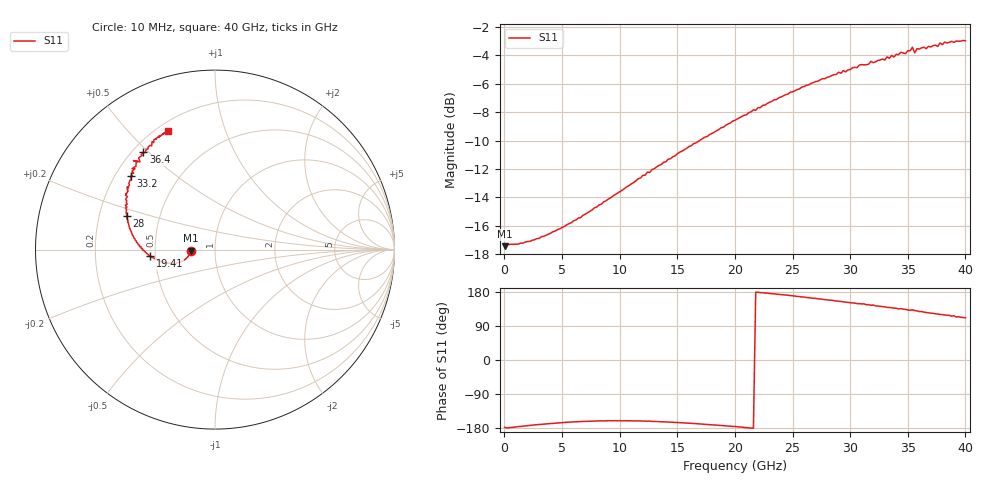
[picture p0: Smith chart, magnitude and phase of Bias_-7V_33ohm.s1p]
!Agilent Technologies,N5227A,US51270434,A.10.00.00
!Agilent N5227A: A.10.00.00
!Date: Monday, March 30, 2026 11:27:59
!Correction: S11(Full 1 Port(1))
!S1P File: Measurement: S11:
# Hz S  dB  R 50
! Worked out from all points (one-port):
!   201 points, 10 MHz to 40 GHz, reference 50 ohm
!   lowest |S11| = -17.4 dB at 10 MHz (marker M1), VSWR 1.31, Z = 38.2 - j0.403 ohm
!   |S11| at or under -10 dB: start of sweep to 16.93 GHz
!   S11 on the Smith chart (normalised r, x): 10 MHz: 0.76, -0.01; 19.41 GHz: 0.47, -0.04; 28 GHz: 0.32, +0.17; 33.2 GHz: 0.26, +0.35; 36.4 GHz: 0.24, +0.48; 40 GHz: 0.25, +0.65
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1e7  -17.43 -177.8
3.00925e9  -16.88 -170.2
5.00875e9  -16.11 -165.2
1.00075e10  -13.60 -160.1
1.500625e10  -10.93 -165.0
1.940515e10  -8.83 -174.4
2.0005e10  -8.58 -175.3
2.500375e10  -6.57 169.4
2.8003e10  -5.55 159.1
3.00025e10  -5.01 151.0
3.12022e10  -4.68 148.2
3.180205e10  -4.43 144.3
3.2002e10  -4.53 145.2
3.32017e10  -4.12 138.9
3.420145e10  -3.96 134.7
3.44014e10  -3.80 135.7
3.500125e10  -3.69 132.2
3.52012e10  -3.69 131.3
3.540115e10  -3.44 132.5
3.56011e10  -3.84 130.5
3.580105e10  -3.54 129.8
3.64009e10  -3.44 126.3
3.860035e10  -3.10 118.0
3.88003e10  -3.03 115.7
3.900025e10  -3.10 116.8
3.92002e10  -3.00 113.5
3.940015e10  -3.02 114.3
4e10  -2.98 111.4
